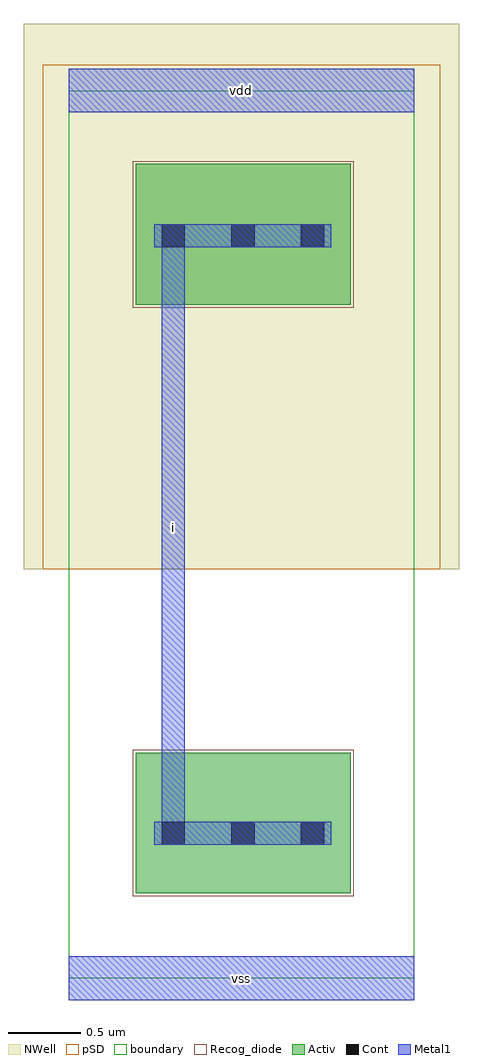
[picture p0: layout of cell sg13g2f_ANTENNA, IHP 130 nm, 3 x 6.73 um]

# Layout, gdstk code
import gdstk
lib = gdstk.Library(unit=1e-6, precision=1e-09)
def R(c, l, rs):  # rectangles x0, y0, x1, y1
    for r in rs: c.add(gdstk.rectangle(r[:2], r[2:], *l))
def A(c, l, x, y, w, h, nx, ny, dx, dy):  # array of equal rectangles
    R(c, l, [(x+i*dx, y+j*dy, x+i*dx+w, y+j*dy+h) for i in range(nx) for j in range(ny)])
Activ = (1, 0)
Cont = (6, 0)
Metal1 = (8, 0)
pSD = (14, 0)
NWell = (31, 0)
TEXT = (63, 0)
Recog_diode = (99, 31)
boundary = (189, 4)

sg13g2f_antenna = lib.new_cell('sg13g2f_ANTENNA')
R(sg13g2f_antenna, Activ, [(0.46,0.585,1.945,1.555), (0.46,4.645,1.945,5.615)])
A(sg13g2f_antenna, Cont, 0.64, 0.92, 0.16, 0.16, 3, 2, 0.48, 4.12)
A(sg13g2f_antenna, Metal1, 0.59, 0.92, 0.26, 0.16, 3, 2, 0.48, 4.12)
R(sg13g2f_antenna, Metal1, [(0,-0.15,2.38,0.15), (0.64,0.92,1.76,1.08), (0.64,1.08,0.8,5.04), (0.64,5.04,1.76,5.2), (0,5.97,2.38,6.27)])
R(sg13g2f_antenna, pSD, [(-0.18,2.82,0.18,5.94), (0.18,2.82,2.2,5.94), (2.2,2.82,2.56,5.94), (-0.18,5.94,2.56,6.3)])
R(sg13g2f_antenna, NWell, [(-0.31,2.82,2.69,6.58)])
R(sg13g2f_antenna, Recog_diode, [(0.44,0.565,1.965,1.575), (0.44,4.625,1.965,5.635)])
R(sg13g2f_antenna, boundary, [(0,0,2.38,6.12)])
sg13g2f_antenna.add(gdstk.FlexPath([(0.59,0.41),(1.81,0.41)], 0, ends="flush", simple_path=True, layer=63, datatype=0))  # TEXT
sg13g2f_antenna.add(gdstk.FlexPath([(0.59,1),(1.81,1)], 0, ends="flush", simple_path=True, layer=63, datatype=0))  # TEXT
sg13g2f_antenna.add(gdstk.FlexPath([(0.59,1.56),(1.81,1.56)], 0, ends="flush", simple_path=True, layer=63, datatype=0))  # TEXT
sg13g2f_antenna.add(gdstk.FlexPath([(0.59,2.15),(1.81,2.15)], 0, ends="flush", simple_path=True, layer=63, datatype=0))  # TEXT
sg13g2f_antenna.add(gdstk.FlexPath([(0.59,2.63),(1.81,2.63)], 0, ends="flush", simple_path=True, layer=63, datatype=0))  # TEXT
sg13g2f_antenna.add(gdstk.FlexPath([(0.59,3.11),(1.81,3.11)], 0, ends="flush", simple_path=True, layer=63, datatype=0))  # TEXT
sg13g2f_antenna.add(gdstk.FlexPath([(0.59,4.08),(1.81,4.08)], 0, ends="flush", simple_path=True, layer=63, datatype=0))  # TEXT
sg13g2f_antenna.add(gdstk.FlexPath([(0.59,4.44),(1.81,4.44)], 0, ends="flush", simple_path=True, layer=63, datatype=0))  # TEXT
sg13g2f_antenna.add(gdstk.FlexPath([(0.59,4.78),(1.81,4.78)], 0, ends="flush", simple_path=True, layer=63, datatype=0))  # TEXT
sg13g2f_antenna.add(gdstk.FlexPath([(0.59,5.12),(1.81,5.12)], 0, ends="flush", simple_path=True, layer=63, datatype=0))  # TEXT
sg13g2f_antenna.add(gdstk.FlexPath([(0.59,5.71),(1.81,5.71)], 0, ends="flush", simple_path=True, layer=63, datatype=0))  # TEXT
sg13g2f_antenna.add(gdstk.FlexPath([(0.72,0.07),(0.72,6.05)], 0, ends="flush", simple_path=True, layer=63, datatype=0))  # TEXT
sg13g2f_antenna.add(gdstk.FlexPath([(1.2,0.07),(1.2,6.05)], 0, ends="flush", simple_path=True, layer=63, datatype=0))  # TEXT
sg13g2f_antenna.add(gdstk.FlexPath([(1.68,0.07),(1.68,6.05)], 0, ends="flush", simple_path=True, layer=63, datatype=0))  # TEXT
sg13g2f_antenna.add(gdstk.Label('i', (0.72,3.11), layer=8, texttype=0))
sg13g2f_antenna.add(gdstk.Label('vss', (1.19,0), layer=8, texttype=2))
sg13g2f_antenna.add(gdstk.Label('vdd', (1.19,6.12), layer=8, texttype=2))
sg13g2f_antenna.add(gdstk.Label('vss', (1.19,0), layer=8, texttype=2))
sg13g2f_antenna.add(gdstk.Label('vdd', (1.19,6.12), layer=8, texttype=2))
sg13g2f_antenna.add(gdstk.Label('vss', (1.19,0), layer=8, texttype=25))
sg13g2f_antenna.add(gdstk.Label('vdd', (1.19,6.12), layer=8, texttype=25))

lib.write_gds('sg13g2f_ANTENNA.gds')
